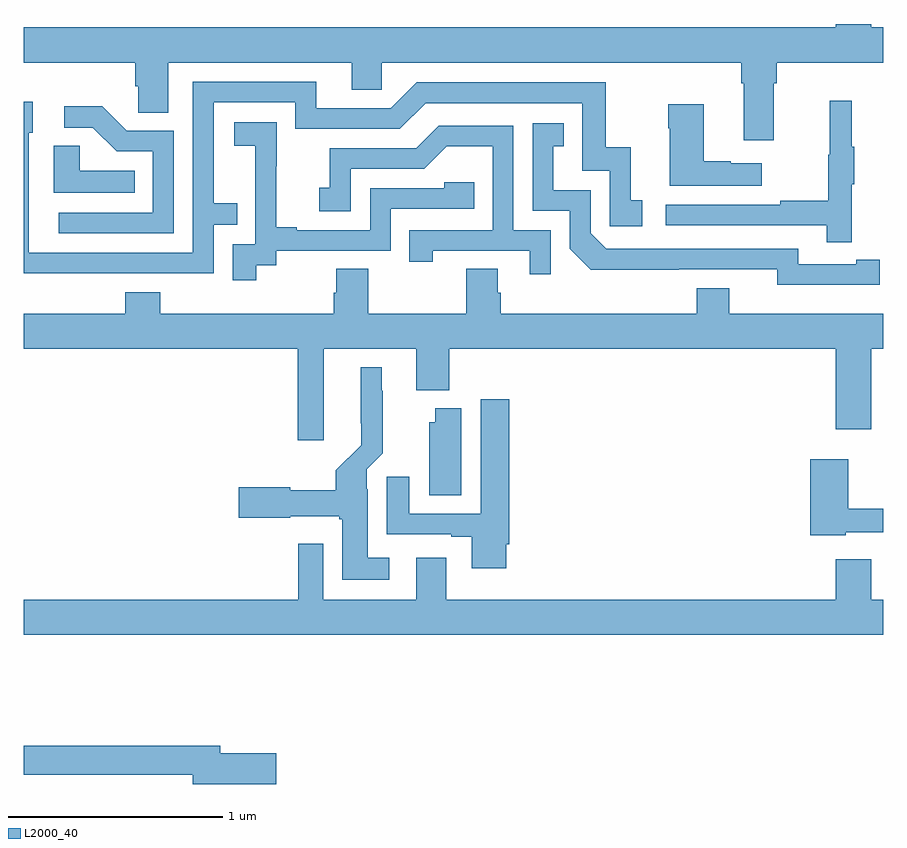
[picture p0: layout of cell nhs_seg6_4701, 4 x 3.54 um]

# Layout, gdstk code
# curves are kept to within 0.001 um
import gdstk
lib = gdstk.Library(unit=1e-6, precision=1e-09)
def P(c, l, *ps):  # polygons
    for p in ps: c.add(gdstk.Polygon(p, *l))
L2000_40 = (2000, 40)

nhs_seg6_4701 = lib.new_cell('nhs_seg6_4701')
P(nhs_seg6_4701, L2000_40, [(392.491,963.224),(392.504,963.224),(392.504,963.32),(393,963.32),(393,963.484),(392.944,963.484),(392.944,963.5),(392.78,963.5),(392.78,963.484),(389,963.484),(389,963.32),(389.519,963.32),(389.519,963.211),(389.532,963.211),(389.532,963.088),(389.671,963.088),(389.671,963.32),(390.527,963.32),(390.527,963.193),(390.666,963.193),(390.666,963.32),(392.339,963.32),(392.339,963.224),(392.351,963.224),(392.351,962.958),(392.491,962.958)],
  [(389.387,962.34),(389.883,962.34),(389.883,962.565),(389.993,962.565),(389.993,962.666),(389.883,962.666),(389.883,963.135),(390.264,963.135),(390.264,963.012),(390.75,963.012),(390.87,963.132),(391.599,963.132),(391.599,962.817),(391.728,962.817),(391.728,962.559),(391.879,962.559),(391.879,962.679),(391.826,962.679),(391.826,962.926),(391.708,962.926),(391.708,963.228),(390.828,963.228),(390.708,963.108),(390.361,963.108),(390.361,963.231),(389.787,963.231),(389.787,962.436),(389.022,962.436),(389.022,962.994),(389.041,962.994),(389.041,963.139),(389,963.139),(389,962.339)],
  [(392.855,962.755),(392.866,962.755),(392.866,962.929),(392.855,962.929),(392.855,963.142),(392.752,963.142),(392.752,962.892),(392.745,962.892),(392.745,962.678),(392.521,962.678),(392.521,962.658),(391.989,962.658),(391.989,962.562),(392.737,962.562),(392.737,962.484),(392.855,962.484)],
  [(392.434,962.851),(392.291,962.851),(392.291,962.861),(392.164,962.861),(392.164,963.127),(391.999,963.127),(391.999,963.014),(392.006,963.014),(392.006,962.747),(392.434,962.747)],
  [(389.697,963.003),(389.478,963.003),(389.365,963.116),(389.187,963.116),(389.187,963.018),(389.321,963.018),(389.432,962.907),(389.601,962.907),(389.601,962.622),(389.163,962.622),(389.163,962.526),(389.697,962.526)],
  [(390.082,962.377),(390.174,962.377),(390.174,962.445),(390.708,962.445),(390.708,962.64),(391.097,962.64),(391.097,962.763),(390.957,962.763),(390.957,962.736),(390.612,962.736),(390.612,962.541),(390.271,962.541),(390.271,962.554),(390.176,962.554),(390.176,962.837),(390.177,962.837),(390.177,963.043),(389.979,963.043),(389.979,962.933),(390.077,962.933),(390.077,962.705),(390.078,962.705),(390.078,962.475),(389.973,962.475),(389.973,962.307),(390.082,962.307)],
  [(392.876,962.286),(392.984,962.286),(392.984,962.402),(392.876,962.402),(392.876,962.382),(392.604,962.382),(392.604,962.454),(391.71,962.454),(391.638,962.526),(391.638,962.727),(391.465,962.727),(391.465,962.931),(391.514,962.931),(391.514,963.037),(391.368,963.037),(391.368,962.631),(391.542,962.631),(391.542,962.454),(391.64,962.357),(392.508,962.358),(392.508,962.285)],
  [(391.452,962.541),(391.278,962.541),(391.278,963.027),(390.932,963.027),(390.827,962.922),(390.424,962.922),(390.424,962.737),(390.375,962.737),(390.375,962.628),(390.522,962.628),(390.522,962.826),(390.864,962.826),(390.968,962.93),(391.182,962.93),(391.182,962.541),(390.793,962.541),(390.793,962.394),(390.904,962.394),(390.904,962.445),(391.355,962.445),(391.355,962.334),(391.452,962.334)],
  [(389.516,962.818),(389.259,962.818),(389.259,962.933),(389.138,962.933),(389.138,962.714),(389.516,962.714)],
  [(390.397,961.988),(390.827,961.988),(390.827,961.796),(390.98,961.796),(390.98,961.988),(392.78,961.988),(392.78,961.614),(392.944,961.614),(392.944,961.988),(393,961.988),(393,962.152),(392.284,962.152),(392.284,962.269),(392.132,962.269),(392.132,962.152),(391.22,962.152),(391.22,962.25),(391.207,962.25),(391.207,962.36),(391.06,962.36),(391.06,962.152),(390.603,962.152),(390.603,962.36),(390.455,962.36),(390.455,962.25),(390.443,962.25),(390.443,962.152),(389.636,962.152),(389.636,962.251),(389.471,962.251),(389.471,962.152),(389,962.152),(389,961.988),(390.275,961.988),(390.275,961.563),(390.397,961.563)],
  [(390.7,961.015),(390.601,961.015),(390.601,961.334),(390.597,961.334),(390.597,961.428),(390.671,961.502),(390.671,961.793),(390.667,961.793),(390.667,961.903),(390.569,961.903),(390.57,961.54),(390.452,961.422),(390.452,961.33),(390.24,961.33),(390.24,961.343),(390,961.343),(390,961.201),(390.24,961.201),(390.24,961.208),(390.468,961.208),(390.468,961.194),(390.482,961.194),(390.482,960.914),(390.7,960.914)],
  [(391.246,961.078),(391.259,961.078),(391.259,961.753),(391.127,961.753),(391.127,961.221),(390.793,961.221),(390.793,961.393),(390.689,961.393),(390.689,961.125),(390.989,961.125),(390.989,961.113),(391.085,961.113),(391.085,960.966),(391.246,960.966)],
  [(391.036,961.711),(390.914,961.711),(390.914,961.647),(390.887,961.647),(390.887,961.306),(391.036,961.306)],
  [(392.826,961.134),(393,961.134),(393,961.243),(392.838,961.243),(392.838,961.474),(392.66,961.474),(392.66,961.121),(392.826,961.121)],
  [(393,960.82),(392.944,960.82),(392.944,961.009),(392.78,961.009),(392.78,960.82),(390.967,960.82),(390.967,961.015),(390.827,961.015),(390.827,960.82),(390.393,960.82),(390.393,961.081),(390.277,961.081),(390.277,960.82),(389,960.82),(389,960.656),(393,960.656)],
  [(390.175,960.104),(389.914,960.104),(389.914,960.14),(389,960.14),(389,960.004),(389.786,960.004),(389.786,959.962),(390.175,959.962)])

lib.write_gds('nhs_seg6_4701.gds')
